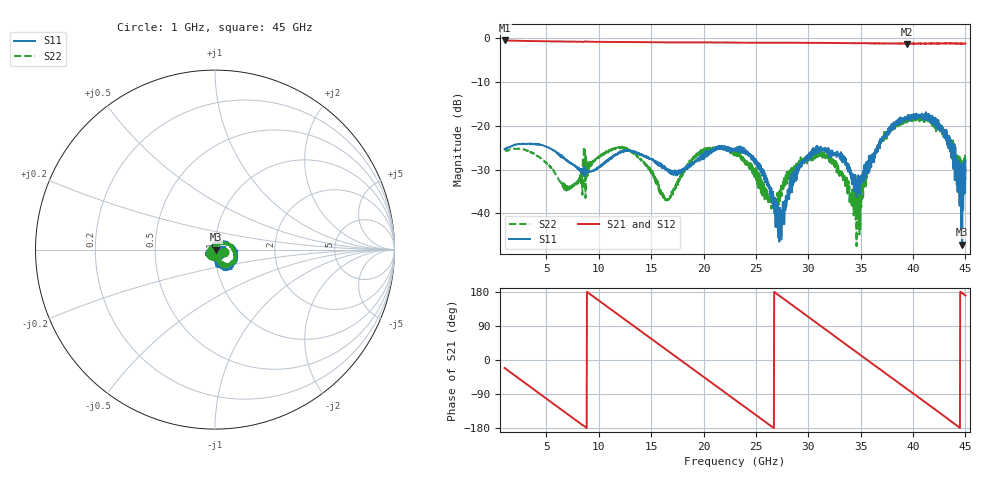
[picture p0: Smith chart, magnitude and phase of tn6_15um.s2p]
!Keysight Technologies,N5247B,MY61255062,A.19.80.06
!Date: Thursday, May 21, 2026 12:31:27
!Correction: S11(Cdelta 2-Port  )
!S21(Cdelta 2-Port  )
!S12(Cdelta 2-Port  )
!S22(Cdelta 2-Port  )
!S2P File: Measurements: S11, S21, S12, S22:
# Hz S  dB  R 50
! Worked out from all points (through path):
!   1601 points, 1 GHz to 45 GHz, reference 50 ohm
!   highest |S21| = -0.49 dB at 1 GHz (marker M1); lowest = -1.3 dB at 39.45 GHz (marker M2)
!   group delay of S21, straight-line fit = 56 ps
!   lowest |S11| = -47.1 dB at 44.7 GHz (marker M3), VSWR 1.01, Z = 50.4 + j0.0112 ohm
!   |S11| at or under -10 dB: start of sweep to end of sweep
!   |S22| runs from -47.5 to -17.4 dB; largest |S21 - S12| = 0.014
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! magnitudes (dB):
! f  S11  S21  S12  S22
! 1 GHz  -25.3  -0.5  -0.5  -25.5
! 3.86 GHz  -24.1  -0.6  -0.6  -26.5
! 6.94 GHz  -27.8  -0.7  -0.7  -34.2
! 8.342 GHz  -30.1  -0.8  -0.8  -33.3
! 12.25 GHz  -25.6  -0.9  -0.9  -25.1
! 15.69 GHz  -28.5  -0.9  -0.9  -34.0
! 16.54 GHz  -30.3  -0.9  -0.9  -36.7
! 19.59 GHz  -27.4  -0.9  -0.9  -26.6
! 23 GHz  -25.2  -1.0  -1.0  -26.1
! 25.5 GHz  -30.8  -1.0  -1.0  -31.9
! 26.68 GHz  -38.9  -1.0  -1.0  -36.3
! 27.26 GHz  -41.0  -1.0  -1.0  -37.2
! 28.8 GHz  -32.6  -1.0  -1.0  -29.8
! 30.34 GHz  -26.9  -1.0  -1.0  -26.3
! 32.38 GHz  -26.2  -1.1  -1.1  -28.3
! 34.74 GHz  -34.2  -1.1  -1.1  -34.0
! 35.84 GHz  -30.1  -1.1  -1.2  -28.1
! 37.69 GHz  -20.8  -1.2  -1.2  -21.2
! 39.45 GHz  -17.9  -1.3  -1.2  -19.2
! 42.85 GHz  -21.1  -1.2  -1.2  -20.4
! 44.7 GHz  -47.1  -1.2  -1.2  -28.4
! 45 GHz  -27.9  -1.2  -1.3  -32.3
